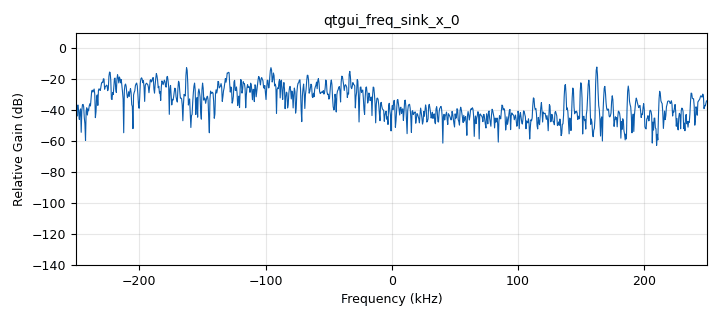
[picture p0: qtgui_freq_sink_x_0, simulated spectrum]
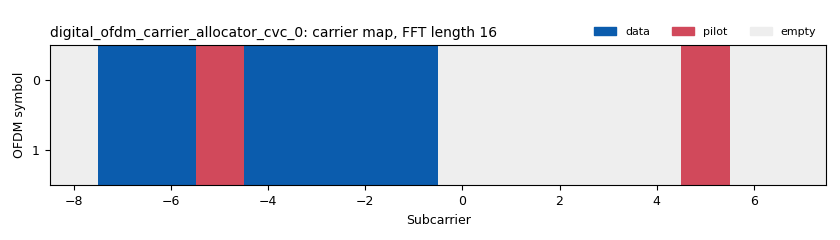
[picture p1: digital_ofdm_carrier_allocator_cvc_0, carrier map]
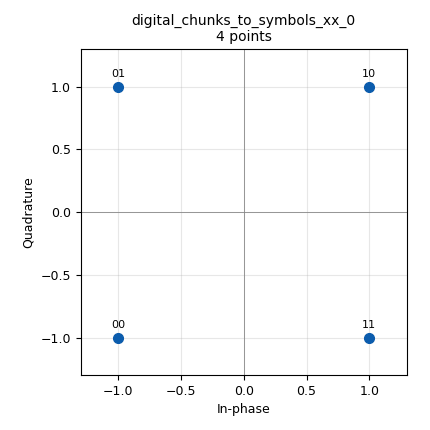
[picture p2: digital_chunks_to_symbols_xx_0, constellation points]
options:
  parameters:
    generate_options: qt_gui
    id: test3_ofdm
    output_language: python
    title: test_10
  states: {}

blocks:
- name: fft_len
  id: variable
  parameters:
    value: '16'
  states: {}
- name: packet_len
  id: variable
  parameters:
    value: '4'
  states: {}
- name: samp_rate
  id: variable
  parameters:
    value: '500000'
  states: {}
- name: analog_random_source_x_0
  id: analog_random_source_x
  parameters:
    max: '255'
    min: '0'
    num_samps: '1000'
    repeat: 'True'
    type: byte
  states: {}
- name: blocks_repack_bits_bb_0
  id: blocks_repack_bits_bb
  parameters:
    endianness: gr.GR_LSB_FIRST
    k: '8'
    l: '2'
    len_tag_key: '"packet_len"'
  states: {}
- name: blocks_stream_to_tagged_stream_0
  id: blocks_stream_to_tagged_stream
  parameters:
    len_tag_key: '"packet_len"'
    packet_len: packet_len
    type: byte
  states: {}
- name: blocks_throttle_0
  id: blocks_throttle
  parameters:
    samples_per_second: samp_rate
    type: byte
  states: {}
- name: digital_chunks_to_symbols_xx_0
  id: digital_chunks_to_symbols_xx
  parameters:
    dimension: '1'
    in_type: byte
    out_type: complex
    symbol_table: '[-1-1j, -1+1j, 1+1j, 1-1j]'
  states: {}
- name: digital_ofdm_carrier_allocator_cvc_0
  id: digital_ofdm_carrier_allocator_cvc
  parameters:
    fft_len: fft_len
    len_tag_key: '"packet_len"'
    occupied_carriers: ((-7, -6, -4, -3, -2, -1),)
    output_is_shifted: 'True'
    pilot_carriers: ((-5,5),)
    pilot_symbols: ((-1, 1j), (1, -1j), (-1, 1j), (-1j, 1))
    sync_words: ((0., 0., 0., 0., 0., 0., 0., 0., 0., 0., 0., 0., 0., 0., 0., 0.),)
  states: {}
- name: digital_ofdm_cyclic_prefixer_0
  id: digital_ofdm_cyclic_prefixer
  parameters:
    cp_len: fft_len//4
    input_size: fft_len
    tagname: '"packet_len"'
  states: {}
- name: fft_vxx_0
  id: fft_vxx
  parameters:
    fft_size: fft_len
    forward: 'False'
    nthreads: '8'
    shift: 'True'
    type: complex
    window: '[]'
  states: {}
- name: qtgui_freq_sink_x_0
  id: qtgui_freq_sink_x
  parameters:
    bw: samp_rate
    fc: '0'
    fftsize: '1024'
    type: complex
  states: {}

connections:
- [analog_random_source_x_0, '0', blocks_stream_to_tagged_stream_0, '0']
- [blocks_repack_bits_bb_0, '0', blocks_throttle_0, '0']
- [blocks_stream_to_tagged_stream_0, '0', blocks_repack_bits_bb_0, '0']
- [blocks_throttle_0, '0', digital_chunks_to_symbols_xx_0, '0']
- [digital_chunks_to_symbols_xx_0, '0', digital_ofdm_carrier_allocator_cvc_0, '0']
- [digital_ofdm_carrier_allocator_cvc_0, '0', fft_vxx_0, '0']
- [digital_ofdm_cyclic_prefixer_0, '0', qtgui_freq_sink_x_0, '0']
- [fft_vxx_0, '0', digital_ofdm_cyclic_prefixer_0, '0']

metadata:
  file_format: 1
